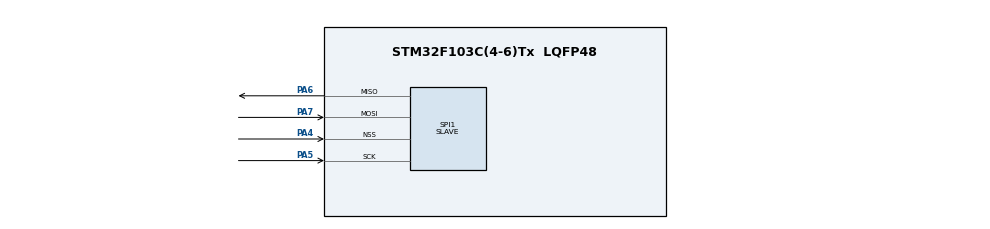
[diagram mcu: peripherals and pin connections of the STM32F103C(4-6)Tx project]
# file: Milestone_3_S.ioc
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Mcu.Family=STM32F1
Mcu.Name=STM32F103C(4-6)Tx
Mcu.Package=LQFP48
NVIC.PriorityGroup=NVIC_PRIORITYGROUP_4
PA4.Mode=NSS_Signal_Hard_Input
PA4.Signal=SPI1_NSS
PA5.Mode=Full_Duplex_Slave
PA5.Signal=SPI1_SCK
PA6.Mode=Full_Duplex_Slave
PA6.Signal=SPI1_MISO
PA7.Mode=Full_Duplex_Slave
PA7.Signal=SPI1_MOSI
ProjectManager.HeapSize=0x200
ProjectManager.StackSize=0x400
ProjectManager.TargetToolchain=STM32CubeIDE
RCC.APB1Freq_Value=8000000
RCC.APB2Freq_Value=8000000
SPI1.Direction=SPI_DIRECTION_2LINES
SPI1.Mode=SPI_MODE_SLAVE
SPI1.VirtualNSS=VM_NSSHARD
SPI1.VirtualType=VM_SLAVE
VP_SYS_VS_ND.Mode=No_Debug
board=custom

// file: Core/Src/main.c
/* USER CODE BEGIN Header */
/**
  ******************************************************************************
  * @file           : main.c
  * @brief          : Main program body
  ******************************************************************************
  * @attention
  *
  * Copyright (c) 2026 STMicroelectronics.
  * All rights reserved.
  *
  * This software is licensed under terms that can be found in the LICENSE file
  * in the root directory of this software component.
  * If no LICENSE file comes with this software, it is provided AS-IS.
  *
  ******************************************************************************
  */
/* USER CODE END Header */
#include "main.h"

SPI_HandleTypeDef hspi1;

/* USER CODE BEGIN PV */
uint8_t spi_rx[3];
uint8_t spi_tx[3] = {0, 0, 0};
/* USER CODE END PV */

void SystemClock_Config(void);
static void MX_GPIO_Init(void);
static void MX_SPI1_Init(void);

/* USER CODE BEGIN 0 */
void Prepare_Case_Data(uint8_t case_id)
{
    uint8_t voltage;
    uint16_t wheel_speed;

    switch (case_id)
    {
        case 1:
            voltage = 12;
            wheel_speed = 0;
            break;

        case 2:
            voltage = 24;
            wheel_speed = 250;
            break;

        case 3:
            voltage = 36;
            wheel_speed = 500;
            break;

        case 4:
            voltage = 48;
            wheel_speed = 750;
            break;

        case 5:
            voltage = 60;
            wheel_speed = 1000;
            break;

        default:
            return;
    }

    spi_tx[0] = voltage;
    spi_tx[1] = wheel_speed >> 8;
    spi_tx[2] = wheel_speed & 0xFF;
}
/* USER CODE END 0 */

int main(void)
{

  /* MCU Configuration--------------------------------------------------------*/

  /* Reset of all peripherals, Initializes the Flash interface and the Systick. */
  HAL_Init();

  /* Configure the system clock */
  SystemClock_Config();

  /* Initialize all configured peripherals */
  MX_GPIO_Init();
  MX_SPI1_Init();

  /* Infinite loop */
  while (1)
  {

    /* USER CODE BEGIN 3 */
	  HAL_SPI_TransmitReceive(
	      &hspi1,
	      spi_tx,
	      spi_rx,
	      3,
	      HAL_MAX_DELAY
	  );

	  if (spi_rx[0] >= 1 && spi_rx[0] <= 5)
	  {
	      Prepare_Case_Data(spi_rx[0]);
	  }
  }
  /* USER CODE END 3 */
}

void SystemClock_Config(void)
{
  RCC_OscInitTypeDef RCC_OscInitStruct = {0};
  RCC_ClkInitTypeDef RCC_ClkInitStruct = {0};

  /** Initializes the RCC Oscillators according to the specified parameters
  * in the RCC_OscInitTypeDef structure.
  */
  RCC_OscInitStruct.OscillatorType = RCC_OSCILLATORTYPE_HSI;
  RCC_OscInitStruct.HSIState = RCC_HSI_ON;
  RCC_OscInitStruct.HSICalibrationValue = RCC_HSICALIBRATION_DEFAULT;
  RCC_OscInitStruct.PLL.PLLState = RCC_PLL_NONE;
  if (HAL_RCC_OscConfig(&RCC_OscInitStruct) != HAL_OK)
  {
    Error_Handler();
  }

  /** Initializes the CPU, AHB and APB buses clocks
  */
  RCC_ClkInitStruct.ClockType = RCC_CLOCKTYPE_HCLK|RCC_CLOCKTYPE_SYSCLK
                              |RCC_CLOCKTYPE_PCLK1|RCC_CLOCKTYPE_PCLK2;
  RCC_ClkInitStruct.SYSCLKSource = RCC_SYSCLKSOURCE_HSI;
  RCC_ClkInitStruct.AHBCLKDivider = RCC_SYSCLK_DIV1;
  RCC_ClkInitStruct.APB1CLKDivider = RCC_HCLK_DIV1;
  RCC_ClkInitStruct.APB2CLKDivider = RCC_HCLK_DIV1;

  if (HAL_RCC_ClockConfig(&RCC_ClkInitStruct, FLASH_LATENCY_0) != HAL_OK)
  {
    Error_Handler();
  }
}

static void MX_SPI1_Init(void)
{

  /* SPI1 parameter configuration*/
  hspi1.Instance = SPI1;
  hspi1.Init.Mode = SPI_MODE_SLAVE;
  hspi1.Init.Direction = SPI_DIRECTION_2LINES;
  hspi1.Init.DataSize = SPI_DATASIZE_8BIT;
  hspi1.Init.CLKPolarity = SPI_POLARITY_LOW;
  hspi1.Init.CLKPhase = SPI_PHASE_1EDGE;
  hspi1.Init.NSS = SPI_NSS_HARD_INPUT;
  hspi1.Init.FirstBit = SPI_FIRSTBIT_MSB;
  hspi1.Init.TIMode = SPI_TIMODE_DISABLE;
  hspi1.Init.CRCCalculation = SPI_CRCCALCULATION_DISABLE;
  hspi1.Init.CRCPolynomial = 10;
  if (HAL_SPI_Init(&hspi1) != HAL_OK)
  {
    Error_Handler();
  }

}

static void MX_GPIO_Init(void)
{

  /* GPIO Ports Clock Enable */
  __HAL_RCC_GPIOA_CLK_ENABLE();

}

void Error_Handler(void)
{
  __disable_irq();
  while (1)
  {
  }
}
